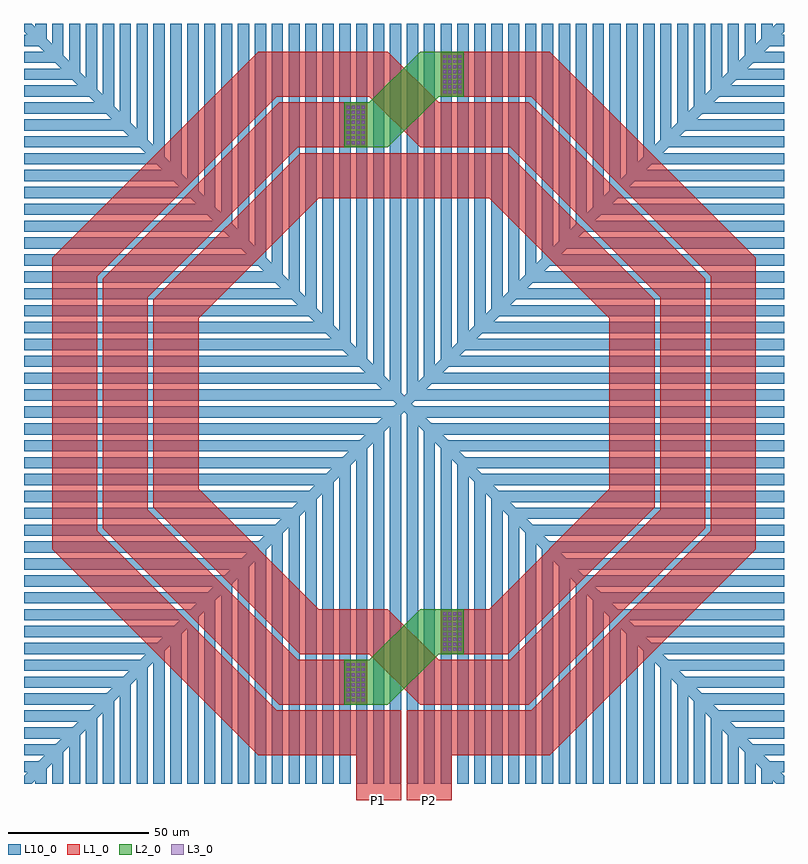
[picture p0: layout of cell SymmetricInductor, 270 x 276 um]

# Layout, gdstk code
import gdstk
lib = gdstk.Library(unit=1e-6, precision=1e-09)
def R(c, l, rs):  # rectangles x0, y0, x1, y1
    for r in rs: c.add(gdstk.rectangle(r[:2], r[2:], *l))
def A(c, l, x, y, w, h, nx, ny, dx, dy):  # array of equal rectangles
    R(c, l, [(x+i*dx, y+j*dy, x+i*dx+w, y+j*dy+h) for i in range(nx) for j in range(ny)])
def P(c, l, *ps):  # polygons
    for p in ps: c.add(gdstk.Polygon(p, *l))
L1_0 = (1, 0)
L2_0 = (2, 0)
L3_0 = (3, 0)
L10_0 = (10, 0)

symmetricinductor = lib.new_cell('SymmetricInductor')
P(symmetricinductor, L1_0, [(-13.142,125),(-51.777,125),(-125,51.777),(-125,-51.777),(-51.777,-125),(-13.142,-125),(-13.142,-109),(-45.149,-109),(-109,-45.149),(-109,45.149),(-45.149,109),(-13.142,109)],
  [(13.142,-125),(51.777,-125),(125,-51.777),(125,51.777),(51.777,125),(13.142,125),(13.142,109),(45.149,109),(109,45.149),(109,-45.149),(45.149,-109),(13.142,-109)],
  [(13.142,107),(12.314,107),(-5.686,125),(-13.142,125),(-13.142,109),(-12.314,109),(5.686,91),(13.142,91)],
  [(-13.142,107),(-44.321,107),(-107,44.321),(-107,-44.321),(-44.321,-107),(-13.142,-107),(-13.142,-91),(-37.693,-91),(-91,-37.693),(-91,37.693),(-37.693,91),(-13.142,91)],
  [(13.142,-107),(44.321,-107),(107,-44.321),(107,44.321),(44.321,107),(13.142,107),(13.142,91),(37.693,91),(91,37.693),(91,-37.693),(37.693,-91),(13.142,-91)],
  [(13.142,-91),(12.314,-91),(-5.686,-73),(-13.142,-73),(-13.142,-89),(-12.314,-89),(5.686,-107),(13.142,-107)],
  [(0,89),(-36.865,89),(-89,36.865),(-89,-36.865),(-36.865,-89),(-13.142,-89),(-13.142,-73),(-30.238,-73),(-73,-30.238),(-73,30.238),(-30.238,73),(0,73)],
  [(13.142,-89),(36.865,-89),(89,-36.865),(89,36.865),(36.865,89),(0,89),(0,73),(30.238,73),(73,30.238),(73,-30.238),(30.238,-73),(13.142,-73)],
  [(-13.142,-109),(-1,-109),(-1,-141),(-17,-141),(-17,-125),(-13.142,-125)],
  [(13.142,-109),(1,-109),(1,-141),(17,-141),(17,-125),(13.142,-125)])
P(symmetricinductor, L2_0, [(-21.142,107),(-13.142,107),(-12.314,107),(5.686,125),(13.142,125),(21.142,125),(21.142,109),(13.142,109),(12.314,109),(-5.686,91),(-13.142,91),(-21.142,91)],
  [(-21.142,-91),(-13.142,-91),(-12.314,-91),(5.686,-73),(13.142,-73),(21.142,-73),(21.142,-89),(13.142,-89),(12.314,-89),(-5.686,-107),(-13.142,-107),(-21.142,-107)])
A(symmetricinductor, L3_0, -20.342, -105.8, 1, 1, 4, 8, 1.8, 1.8)
A(symmetricinductor, L3_0, 13.942, -87.8, 1, 1, 4, 8, 1.8, 1.8)
A(symmetricinductor, L3_0, -20.342, 92.2, 1, 1, 4, 8, 1.8, 1.8)
A(symmetricinductor, L3_0, 13.942, 110.2, 1, 1, 4, 8, 1.8, 1.8)
P(symmetricinductor, L10_0, [(-3.828,1),(-135,1),(-135,5),(-7.828,5)],
  [(3.828,1),(135,1),(135,5),(7.828,5)],
  [(-3.828,-1),(-135,-1),(-135,-5),(-7.828,-5)],
  [(3.828,-1),(135,-1),(135,-5),(7.828,-5)],
  [(1,-3.828),(1,-135),(5,-135),(5,-7.828)],
  [(-1,-3.828),(-1,-135),(-5,-135),(-5,-7.828)],
  [(1,3.828),(1,135),(5,135),(5,7.828)],
  [(-1,3.828),(-1,135),(-5,135),(-5,7.828)],
  [(-9.828,7),(-135,7),(-135,11),(-13.828,11)],
  [(9.828,7),(135,7),(135,11),(13.828,11)],
  [(-9.828,-7),(-135,-7),(-135,-11),(-13.828,-11)],
  [(9.828,-7),(135,-7),(135,-11),(13.828,-11)],
  [(7,-9.828),(7,-135),(11,-135),(11,-13.828)],
  [(-7,-9.828),(-7,-135),(-11,-135),(-11,-13.828)],
  [(7,9.828),(7,135),(11,135),(11,13.828)],
  [(-7,9.828),(-7,135),(-11,135),(-11,13.828)],
  [(-15.828,13),(-135,13),(-135,17),(-19.828,17)],
  [(15.828,13),(135,13),(135,17),(19.828,17)],
  [(-15.828,-13),(-135,-13),(-135,-17),(-19.828,-17)],
  [(15.828,-13),(135,-13),(135,-17),(19.828,-17)],
  [(13,-15.828),(13,-135),(17,-135),(17,-19.828)],
  [(-13,-15.828),(-13,-135),(-17,-135),(-17,-19.828)],
  [(13,15.828),(13,135),(17,135),(17,19.828)],
  [(-13,15.828),(-13,135),(-17,135),(-17,19.828)],
  [(-21.828,19),(-135,19),(-135,23),(-25.828,23)],
  [(21.828,19),(135,19),(135,23),(25.828,23)],
  [(-21.828,-19),(-135,-19),(-135,-23),(-25.828,-23)],
  [(21.828,-19),(135,-19),(135,-23),(25.828,-23)],
  [(19,-21.828),(19,-135),(23,-135),(23,-25.828)],
  [(-19,-21.828),(-19,-135),(-23,-135),(-23,-25.828)],
  [(19,21.828),(19,135),(23,135),(23,25.828)],
  [(-19,21.828),(-19,135),(-23,135),(-23,25.828)],
  [(-27.828,25),(-135,25),(-135,29),(-31.828,29)],
  [(27.828,25),(135,25),(135,29),(31.828,29)],
  [(-27.828,-25),(-135,-25),(-135,-29),(-31.828,-29)],
  [(27.828,-25),(135,-25),(135,-29),(31.828,-29)],
  [(25,-27.828),(25,-135),(29,-135),(29,-31.828)],
  [(-25,-27.828),(-25,-135),(-29,-135),(-29,-31.828)],
  [(25,27.828),(25,135),(29,135),(29,31.828)],
  [(-25,27.828),(-25,135),(-29,135),(-29,31.828)],
  [(-33.828,31),(-135,31),(-135,35),(-37.828,35)],
  [(33.828,31),(135,31),(135,35),(37.828,35)],
  [(-33.828,-31),(-135,-31),(-135,-35),(-37.828,-35)],
  [(33.828,-31),(135,-31),(135,-35),(37.828,-35)],
  [(31,-33.828),(31,-135),(35,-135),(35,-37.828)],
  [(-31,-33.828),(-31,-135),(-35,-135),(-35,-37.828)],
  [(31,33.828),(31,135),(35,135),(35,37.828)],
  [(-31,33.828),(-31,135),(-35,135),(-35,37.828)],
  [(-39.828,37),(-135,37),(-135,41),(-43.828,41)],
  [(39.828,37),(135,37),(135,41),(43.828,41)],
  [(-39.828,-37),(-135,-37),(-135,-41),(-43.828,-41)],
  [(39.828,-37),(135,-37),(135,-41),(43.828,-41)],
  [(37,-39.828),(37,-135),(41,-135),(41,-43.828)],
  [(-37,-39.828),(-37,-135),(-41,-135),(-41,-43.828)],
  [(37,39.828),(37,135),(41,135),(41,43.828)],
  [(-37,39.828),(-37,135),(-41,135),(-41,43.828)],
  [(-45.828,43),(-135,43),(-135,47),(-49.828,47)],
  [(45.828,43),(135,43),(135,47),(49.828,47)],
  [(-45.828,-43),(-135,-43),(-135,-47),(-49.828,-47)],
  [(45.828,-43),(135,-43),(135,-47),(49.828,-47)],
  [(43,-45.828),(43,-135),(47,-135),(47,-49.828)],
  [(-43,-45.828),(-43,-135),(-47,-135),(-47,-49.828)],
  [(43,45.828),(43,135),(47,135),(47,49.828)],
  [(-43,45.828),(-43,135),(-47,135),(-47,49.828)],
  [(-51.828,49),(-135,49),(-135,53),(-55.828,53)],
  [(51.828,49),(135,49),(135,53),(55.828,53)],
  [(-51.828,-49),(-135,-49),(-135,-53),(-55.828,-53)],
  [(51.828,-49),(135,-49),(135,-53),(55.828,-53)],
  [(49,-51.828),(49,-135),(53,-135),(53,-55.828)],
  [(-49,-51.828),(-49,-135),(-53,-135),(-53,-55.828)],
  [(49,51.828),(49,135),(53,135),(53,55.828)],
  [(-49,51.828),(-49,135),(-53,135),(-53,55.828)],
  [(-57.828,55),(-135,55),(-135,59),(-61.828,59)],
  [(57.828,55),(135,55),(135,59),(61.828,59)],
  [(-57.828,-55),(-135,-55),(-135,-59),(-61.828,-59)],
  [(57.828,-55),(135,-55),(135,-59),(61.828,-59)],
  [(55,-57.828),(55,-135),(59,-135),(59,-61.828)],
  [(-55,-57.828),(-55,-135),(-59,-135),(-59,-61.828)],
  [(55,57.828),(55,135),(59,135),(59,61.828)],
  [(-55,57.828),(-55,135),(-59,135),(-59,61.828)],
  [(-63.828,61),(-135,61),(-135,65),(-67.828,65)],
  [(63.828,61),(135,61),(135,65),(67.828,65)],
  [(-63.828,-61),(-135,-61),(-135,-65),(-67.828,-65)],
  [(63.828,-61),(135,-61),(135,-65),(67.828,-65)],
  [(61,-63.828),(61,-135),(65,-135),(65,-67.828)],
  [(-61,-63.828),(-61,-135),(-65,-135),(-65,-67.828)],
  [(61,63.828),(61,135),(65,135),(65,67.828)],
  [(-61,63.828),(-61,135),(-65,135),(-65,67.828)],
  [(-69.828,67),(-135,67),(-135,71),(-73.828,71)],
  [(69.828,67),(135,67),(135,71),(73.828,71)],
  [(-69.828,-67),(-135,-67),(-135,-71),(-73.828,-71)],
  [(69.828,-67),(135,-67),(135,-71),(73.828,-71)],
  [(67,-69.828),(67,-135),(71,-135),(71,-73.828)],
  [(-67,-69.828),(-67,-135),(-71,-135),(-71,-73.828)],
  [(67,69.828),(67,135),(71,135),(71,73.828)],
  [(-67,69.828),(-67,135),(-71,135),(-71,73.828)],
  [(-75.828,73),(-135,73),(-135,77),(-79.828,77)],
  [(75.828,73),(135,73),(135,77),(79.828,77)],
  [(-75.828,-73),(-135,-73),(-135,-77),(-79.828,-77)],
  [(75.828,-73),(135,-73),(135,-77),(79.828,-77)],
  [(73,-75.828),(73,-135),(77,-135),(77,-79.828)],
  [(-73,-75.828),(-73,-135),(-77,-135),(-77,-79.828)],
  [(73,75.828),(73,135),(77,135),(77,79.828)],
  [(-73,75.828),(-73,135),(-77,135),(-77,79.828)],
  [(-81.828,79),(-135,79),(-135,83),(-85.828,83)],
  [(81.828,79),(135,79),(135,83),(85.828,83)],
  [(-81.828,-79),(-135,-79),(-135,-83),(-85.828,-83)],
  [(81.828,-79),(135,-79),(135,-83),(85.828,-83)],
  [(79,-81.828),(79,-135),(83,-135),(83,-85.828)],
  [(-79,-81.828),(-79,-135),(-83,-135),(-83,-85.828)],
  [(79,81.828),(79,135),(83,135),(83,85.828)],
  [(-79,81.828),(-79,135),(-83,135),(-83,85.828)],
  [(-87.828,85),(-135,85),(-135,89),(-91.828,89)],
  [(87.828,85),(135,85),(135,89),(91.828,89)],
  [(-87.828,-85),(-135,-85),(-135,-89),(-91.828,-89)],
  [(87.828,-85),(135,-85),(135,-89),(91.828,-89)],
  [(85,-87.828),(85,-135),(89,-135),(89,-91.828)],
  [(-85,-87.828),(-85,-135),(-89,-135),(-89,-91.828)],
  [(85,87.828),(85,135),(89,135),(89,91.828)],
  [(-85,87.828),(-85,135),(-89,135),(-89,91.828)],
  [(-93.828,91),(-135,91),(-135,95),(-97.828,95)],
  [(93.828,91),(135,91),(135,95),(97.828,95)],
  [(-93.828,-91),(-135,-91),(-135,-95),(-97.828,-95)],
  [(93.828,-91),(135,-91),(135,-95),(97.828,-95)],
  [(91,-93.828),(91,-135),(95,-135),(95,-97.828)],
  [(-91,-93.828),(-91,-135),(-95,-135),(-95,-97.828)],
  [(91,93.828),(91,135),(95,135),(95,97.828)],
  [(-91,93.828),(-91,135),(-95,135),(-95,97.828)],
  [(-99.828,97),(-135,97),(-135,101),(-103.828,101)],
  [(99.828,97),(135,97),(135,101),(103.828,101)],
  [(-99.828,-97),(-135,-97),(-135,-101),(-103.828,-101)],
  [(99.828,-97),(135,-97),(135,-101),(103.828,-101)],
  [(97,-99.828),(97,-135),(101,-135),(101,-103.828)],
  [(-97,-99.828),(-97,-135),(-101,-135),(-101,-103.828)],
  [(97,99.828),(97,135),(101,135),(101,103.828)],
  [(-97,99.828),(-97,135),(-101,135),(-101,103.828)],
  [(-105.828,103),(-135,103),(-135,107),(-109.828,107)],
  [(105.828,103),(135,103),(135,107),(109.828,107)],
  [(-105.828,-103),(-135,-103),(-135,-107),(-109.828,-107)],
  [(105.828,-103),(135,-103),(135,-107),(109.828,-107)],
  [(103,-105.828),(103,-135),(107,-135),(107,-109.828)],
  [(-103,-105.828),(-103,-135),(-107,-135),(-107,-109.828)],
  [(103,105.828),(103,135),(107,135),(107,109.828)],
  [(-103,105.828),(-103,135),(-107,135),(-107,109.828)],
  [(-111.828,109),(-135,109),(-135,113),(-115.828,113)],
  [(111.828,109),(135,109),(135,113),(115.828,113)],
  [(-111.828,-109),(-135,-109),(-135,-113),(-115.828,-113)],
  [(111.828,-109),(135,-109),(135,-113),(115.828,-113)],
  [(109,-111.828),(109,-135),(113,-135),(113,-115.828)],
  [(-109,-111.828),(-109,-135),(-113,-135),(-113,-115.828)],
  [(109,111.828),(109,135),(113,135),(113,115.828)],
  [(-109,111.828),(-109,135),(-113,135),(-113,115.828)],
  [(-117.828,115),(-135,115),(-135,119),(-121.828,119)],
  [(117.828,115),(135,115),(135,119),(121.828,119)],
  [(-117.828,-115),(-135,-115),(-135,-119),(-121.828,-119)],
  [(117.828,-115),(135,-115),(135,-119),(121.828,-119)],
  [(115,-117.828),(115,-135),(119,-135),(119,-121.828)],
  [(-115,-117.828),(-115,-135),(-119,-135),(-119,-121.828)],
  [(115,117.828),(115,135),(119,135),(119,121.828)],
  [(-115,117.828),(-115,135),(-119,135),(-119,121.828)],
  [(-123.828,121),(-135,121),(-135,125),(-127.828,125)],
  [(123.828,121),(135,121),(135,125),(127.828,125)],
  [(-123.828,-121),(-135,-121),(-135,-125),(-127.828,-125)],
  [(123.828,-121),(135,-121),(135,-125),(127.828,-125)],
  [(121,-123.828),(121,-135),(125,-135),(125,-127.828)],
  [(-121,-123.828),(-121,-135),(-125,-135),(-125,-127.828)],
  [(121,123.828),(121,135),(125,135),(125,127.828)],
  [(-121,123.828),(-121,135),(-125,135),(-125,127.828)],
  [(-129.828,127),(-135,127),(-135,131),(-133.828,131)],
  [(129.828,127),(135,127),(135,131),(133.828,131)],
  [(-129.828,-127),(-135,-127),(-135,-131),(-133.828,-131)],
  [(129.828,-127),(135,-127),(135,-131),(133.828,-131)],
  [(127,-129.828),(127,-135),(131,-135),(131,-133.828)],
  [(-127,-129.828),(-127,-135),(-131,-135),(-131,-133.828)],
  [(127,129.828),(127,135),(131,135),(131,133.828)],
  [(-127,129.828),(-127,135),(-131,135),(-131,133.828)],
  [(135,135),(132.172,135),(0,2.828),(0,0),(2.828,0),(135,132.172)],
  [(-135,135),(-132.172,135),(0,2.828),(0,0),(-2.828,0),(-135,132.172)],
  [(-135,-135),(-132.172,-135),(0,-2.828),(0,0),(-2.828,0),(-135,-132.172)],
  [(135,-135),(132.172,-135),(0,-2.828),(0,0),(2.828,0),(135,-132.172)])
symmetricinductor.add(gdstk.Label('P1', (-9,-141), layer=1, texttype=0))
symmetricinductor.add(gdstk.Label('P2', (9,-141), layer=1, texttype=0))

lib.write_gds('SymmetricInductor.gds')
